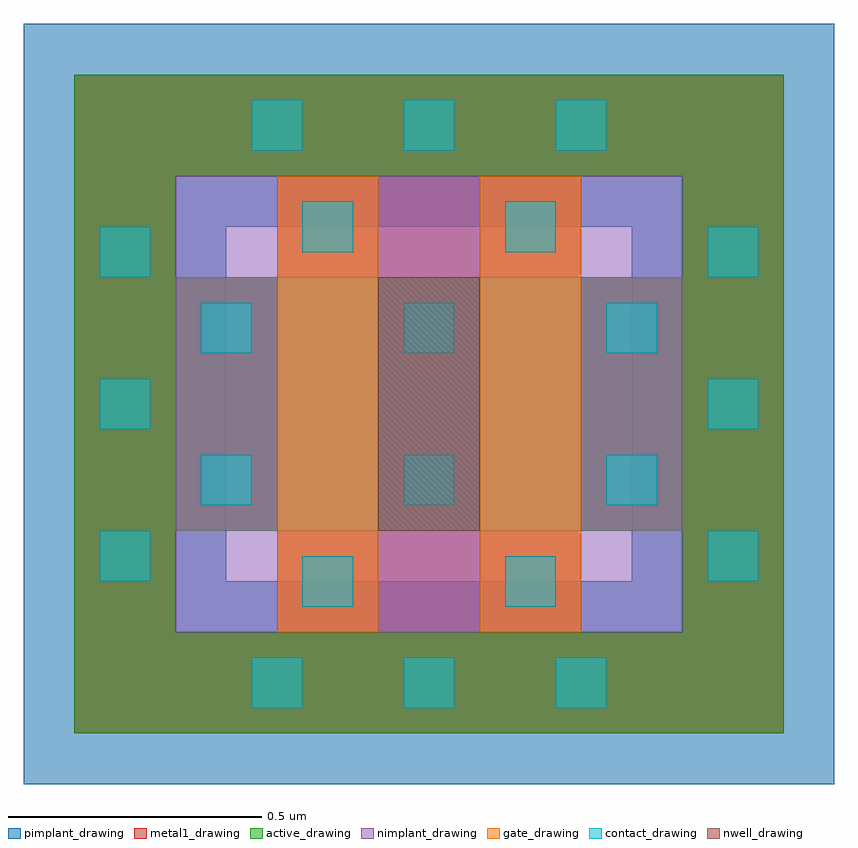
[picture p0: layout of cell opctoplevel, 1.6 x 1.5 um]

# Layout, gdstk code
import gdstk
lib = gdstk.Library(unit=1e-6, precision=1e-09)
def R(c, l, rs):  # rectangles x0, y0, x1, y1
    for r in rs: c.add(gdstk.rectangle(r[:2], r[2:], *l))
def A(c, l, x, y, w, h, nx, ny, dx, dy):  # array of equal rectangles
    R(c, l, [(x+i*dx, y+j*dy, x+i*dx+w, y+j*dy+h) for i in range(nx) for j in range(ny)])
active_drawing = (1, 0)
nwell_drawing = (3, 0)
pimplant_drawing = (4, 0)
nimplant_drawing = (5, 0)
gate_drawing = (6, 0)
contact_drawing = (7, 0)
metal1_drawing = (8, 0)

opctoplevel = lib.new_cell('opctoplevel')
R(opctoplevel, active_drawing, [(-0.2,-0.4,1.2,-0.2), (-0.2,-0.4,0,0.9), (1,-0.4,1.2,0.9), (0,0,1,0.5), (-0.2,0.7,1.2,0.9)])
R(opctoplevel, nwell_drawing, [(0.4,0,0.6,0.5)])
R(opctoplevel, pimplant_drawing, [(-0.3,-0.5,1.3,-0.1), (-0.3,-0.5,0.1,1), (0.9,-0.5,1.3,1), (-0.3,0.6,1.3,1)])
R(opctoplevel, nimplant_drawing, [(0,-0.2,1,0.7), (0.1,-0.1,0.9,0.6)])
R(opctoplevel, gate_drawing, [(0.2,-0.2,0.4,0.7), (0.6,-0.2,0.8,0.7)])
A(opctoplevel, contact_drawing, 0.15, -0.35, 0.1, 0.1, 3, 2, 0.3, 1.1)
A(opctoplevel, contact_drawing, -0.15, -0.1, 0.1, 0.1, 1, 3, 0, 0.3)
A(opctoplevel, contact_drawing, 1.05, -0.1, 0.1, 0.1, 1, 3, 0, 0.3)
A(opctoplevel, contact_drawing, 0.05, 0.05, 0.1, 0.1, 3, 2, 0.4, 0.3)
R(opctoplevel, contact_drawing, [(0.25,-0.15,0.35,-0.05), (0.65,-0.15,0.75,-0.05), (0.25,0.55,0.35,0.65), (0.65,0.55,0.75,0.65)])
A(opctoplevel, metal1_drawing, 0, 0, 0.2, 0.5, 3, 1, 0.4, 0)
R(opctoplevel, metal1_drawing, [(-0.2,-0.4,1.2,-0.2), (-0.2,-0.4,0,0.9), (1,-0.4,1.2,0.9), (0.2,-0.2,0.4,0), (0.2,-0.2,0.8,0), (0.6,-0.2,0.8,0), (0.2,0.5,0.4,0.7), (0.2,0.5,0.8,0.7), (0.6,0.5,0.8,0.7), (-0.2,0.7,1.2,0.9)])

lib.write_gds('opctoplevel.gds')
